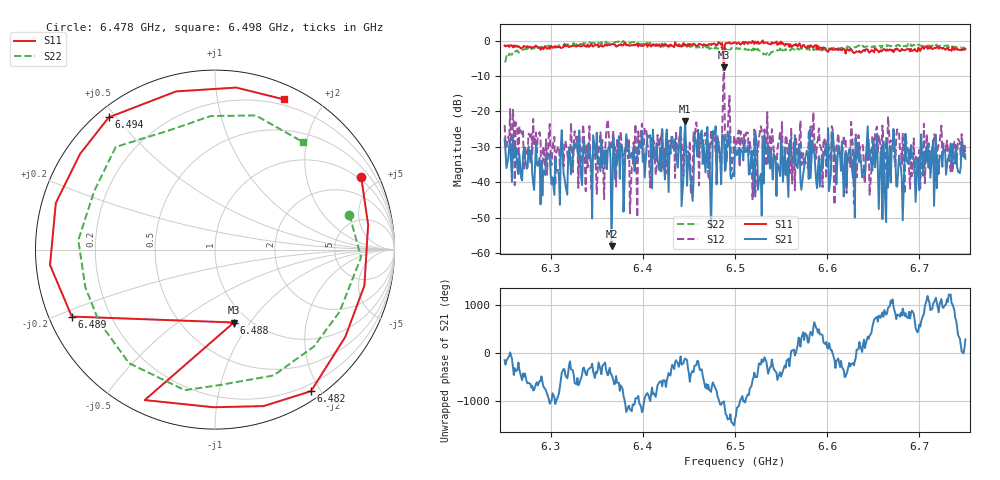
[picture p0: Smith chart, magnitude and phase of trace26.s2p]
# Hz S RI R 50
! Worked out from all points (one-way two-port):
!   401 points, 6.25 GHz to 6.75 GHz, reference 50 ohm
!   highest |S21| = -22.78 dB at 6.446 GHz (marker M1); lowest = -58.0 dB at 6.366 GHz (marker M2)
!   lowest |S11| = -7.5 dB at 6.488 GHz (marker M3), VSWR 2.45, Z = 42.6 - j42 ohm
!   |S11| at or under -10 dB: nowhere
!   |S22| runs from -6.1 to -0.1 dB; largest |S21 - S12| = 0.68
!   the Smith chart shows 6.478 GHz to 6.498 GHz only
!   S11 on the Smith chart (normalised r, x): 6.478 GHz: 0.87, +4.08; 6.482 GHz: 0.11, -1.88; 6.488 GHz: 0.85, -0.84; 6.489 GHz: 0.07, -0.22; 6.494 GHz: 0.03, +0.48; 6.498 GHz: 0.14, +1.55
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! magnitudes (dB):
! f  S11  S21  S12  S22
! 6.25 GHz  -1.4  -27.8  -23.8  -6.1
! 6.291 GHz  -2.0  -43.7  -36.0  -1.7
! 6.334 GHz  -1.6  -40.8  -37.9  -1.0
! 6.366 GHz  -1.0  -58.0  -30.4  -0.7
! 6.389 GHz  -1.3  -33.6  -35.7  -0.4
! 6.418 GHz  -1.1  -36.7  -30.0  -1.0
! 6.446 GHz  -1.1  -22.8  -27.5  -1.3
! 6.478 GHz  -0.8  -26.6  -27.8  -2.2
! 6.482 GHz  -0.4  -28.3  -31.0  -2.2
! 6.488 GHz  -7.5  -27.1  -2.9  -2.4
! 6.489 GHz  -1.1  -36.8  -24.9  -2.5
! 6.494 GHz  -0.5  -25.6  -15.6  -3.0
! 6.498 GHz  -0.7  -37.3  -32.8  -2.2
! 6.5 GHz  -0.5  -29.9  -28.1  -2.5
! 6.576 GHz  -1.8  -33.3  -33.9  -2.4
! 6.584 GHz  -1.8  -28.2  -27.1  -2.2
! 6.59 GHz  -1.4  -36.5  -28.0  -2.3
! 6.599 GHz  -2.8  -29.2  -38.9  -2.7
! 6.63 GHz  -3.4  -49.9  -37.9  -1.8
! 6.668 GHz  -2.4  -29.6  -28.8  -1.4
! 6.69 GHz  -3.1  -33.7  -41.8  -1.6
! 6.75 GHz  -2.4  -33.4  -32.7  -1.8
